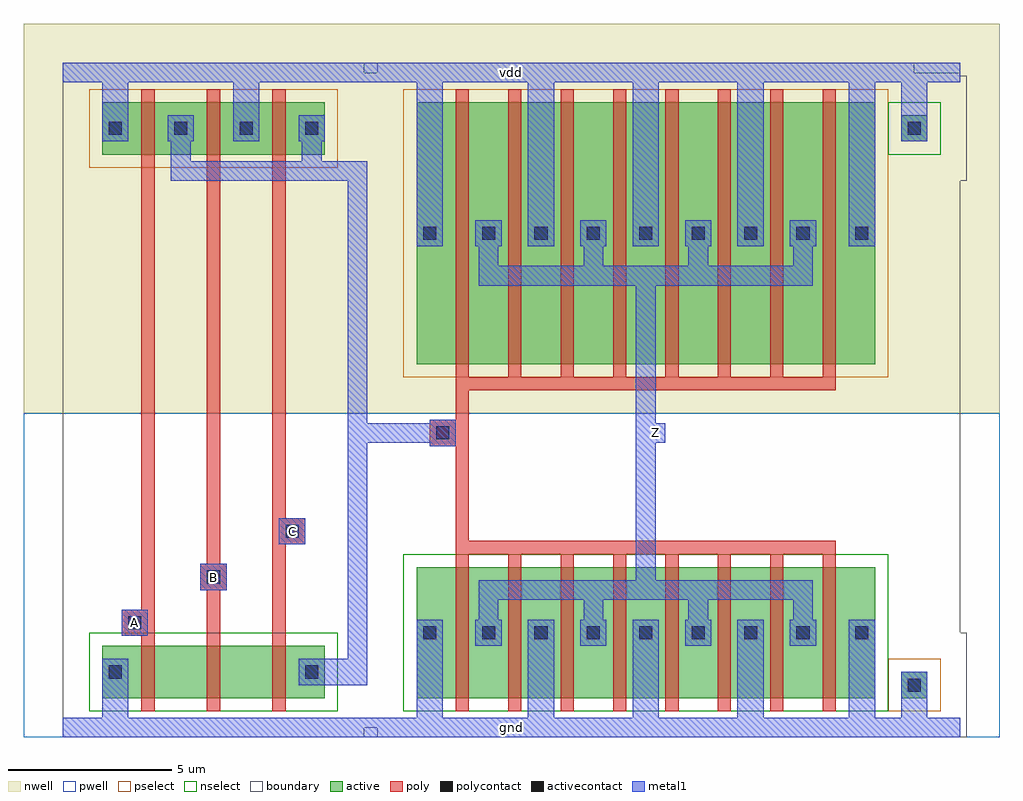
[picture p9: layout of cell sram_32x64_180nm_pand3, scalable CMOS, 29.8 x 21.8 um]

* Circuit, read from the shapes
.subckt sram_32x64_180nm_pand3 A B C Z gnd vdd
M1 sram_32x64_180nm_pnand3_0_0/sram_32x64_180nm_nmos_m1_w1_600_sm1_dactive_3/D A gnd gnd nfet w=1.6u l=0.4u
M2 sram_32x64_180nm_pnand3_0_0/sram_32x64_180nm_nmos_m1_w1_600_sactive_dactive_4/D B sram_32x64_180nm_pnand3_0_0/sram_32x64_180nm_nmos_m1_w1_600_sm1_dactive_3/D gnd nfet w=1.6u l=0.4u
M3 sram_32x64_180nm_pdriver_3_1/A C sram_32x64_180nm_pnand3_0_0/sram_32x64_180nm_nmos_m1_w1_600_sactive_dactive_4/D gnd nfet w=1.6u l=0.4u
M4 Z sram_32x64_180nm_pdriver_3_1/A gnd gnd nfet w=4u l=0.4u m=8
M5 sram_32x64_180nm_pdriver_3_1/A A vdd vdd pfet w=1.6u l=0.4u
M6 vdd B sram_32x64_180nm_pdriver_3_1/A vdd pfet w=1.6u l=0.4u
M7 sram_32x64_180nm_pdriver_3_1/A C vdd vdd pfet w=1.6u l=0.4u
M8 Z sram_32x64_180nm_pdriver_3_1/A vdd vdd pfet w=8u l=0.4u m=8
.ends

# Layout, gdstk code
import gdstk
lib = gdstk.Library(unit=1e-6, precision=1e-09)
def R(c, l, rs):  # rectangles x0, y0, x1, y1
    for r in rs: c.add(gdstk.rectangle(r[:2], r[2:], *l))
def A(c, l, x, y, w, h, nx, ny, dx, dy):  # array of equal rectangles
    R(c, l, [(x+i*dx, y+j*dy, x+i*dx+w, y+j*dy+h) for i in range(nx) for j in range(ny)])
pwell = (41, 0)
nwell = (42, 0)
active = (43, 0)
pselect = (44, 0)
nselect = (45, 0)
poly = (46, 0)
polycontact = (47, 0)
activecontact = (48, 0)
metal1 = (49, 0)
boundary = (63, 0)

sram_32x64_180nm_contact = lib.new_cell('sram_32x64_180nm_contact_12')
R(sram_32x64_180nm_contact, nwell, [(-1.2,-1.2,2,2)])
R(sram_32x64_180nm_contact, active, [(0,0,0.8,0.8)])
R(sram_32x64_180nm_contact, pselect, [(-0.4,-0.4,1.2,1.2)])
R(sram_32x64_180nm_contact, activecontact, [(0.2,0.2,0.6,0.6)])
R(sram_32x64_180nm_contact, metal1, [(0,0,0.8,0.8)])
R(sram_32x64_180nm_contact, boundary, [(-1.2,-1.2,2,2)])

sram_32x64_180nm_pmos_m1 = lib.new_cell('sram_32x64_180nm_pmos_m1_w1_600_sm1_dm1')
R(sram_32x64_180nm_pmos_m1, nwell, [(-1.2,-1.2,4,2.8)])
R(sram_32x64_180nm_pmos_m1, active, [(0,0,2.8,1.6)])
R(sram_32x64_180nm_pmos_m1, pselect, [(-0.4,-0.4,3.2,2)])
R(sram_32x64_180nm_pmos_m1, poly, [(1.2,-0.4,1.6,2), (1.2,-0.4,1.6,2)])
R(sram_32x64_180nm_pmos_m1, metal1, [(0,0.4,0.8,1.2), (2,0.4,2.8,1.2)])
R(sram_32x64_180nm_pmos_m1, boundary, [(-1.2,-1.2,4,2.8)])
sram_32x64_180nm_pmos_m1.add(gdstk.Reference(sram_32x64_180nm_contact, (0,0.4)))
sram_32x64_180nm_pmos_m1.add(gdstk.Reference(sram_32x64_180nm_contact, (2,0.4)))
sram_32x64_180nm_pmos_m1.add(gdstk.Label('G', (1.4,0.8), layer=46, texttype=0))
sram_32x64_180nm_pmos_m1.add(gdstk.Label('S', (0.4,0.8), layer=49, texttype=0))
sram_32x64_180nm_pmos_m1.add(gdstk.Label('D', (2.4,0.8), layer=49, texttype=0))

c_sram_32x64_180nm_contact = lib.new_cell('sram_32x64_180nm_contact_11')
R(c_sram_32x64_180nm_contact, pwell, [(-1.2,-1.2,2,2)])
R(c_sram_32x64_180nm_contact, active, [(0,0,0.8,0.8)])
R(c_sram_32x64_180nm_contact, nselect, [(-0.4,-0.4,1.2,1.2)])
R(c_sram_32x64_180nm_contact, activecontact, [(0.2,0.2,0.6,0.6)])
R(c_sram_32x64_180nm_contact, metal1, [(0,0,0.8,0.8)])
R(c_sram_32x64_180nm_contact, boundary, [(-1.2,-1.2,2,2)])

sram_32x64_180nm_nmos_m1 = lib.new_cell('sram_32x64_180nm_nmos_m1_w1_600_sm1_dactive')
R(sram_32x64_180nm_nmos_m1, pwell, [(-1.2,-1.2,4,2.8)])
R(sram_32x64_180nm_nmos_m1, active, [(0,0,2.8,1.6), (2.1,0.5,2.7,1.1)])
R(sram_32x64_180nm_nmos_m1, nselect, [(-0.4,-0.4,3.2,2)])
R(sram_32x64_180nm_nmos_m1, poly, [(1.2,-0.4,1.6,2), (1.2,-0.4,1.6,2)])
R(sram_32x64_180nm_nmos_m1, metal1, [(0,0.4,0.8,1.2)])
R(sram_32x64_180nm_nmos_m1, boundary, [(-1.2,-1.2,4,2.8)])
sram_32x64_180nm_nmos_m1.add(gdstk.Reference(c_sram_32x64_180nm_contact, (0,0.4)))
sram_32x64_180nm_nmos_m1.add(gdstk.Label('G', (1.4,0.8), layer=46, texttype=0))
sram_32x64_180nm_nmos_m1.add(gdstk.Label('S', (0.4,0.8), layer=49, texttype=0))
sram_32x64_180nm_nmos_m1.add(gdstk.Label('D', (2.4,0.8), layer=43, texttype=0))

c_sram_32x64_180nm_nmos_m1 = lib.new_cell('sram_32x64_180nm_nmos_m1_w1_600_sactive_dactive')
R(c_sram_32x64_180nm_nmos_m1, pwell, [(-1.2,-1.2,4,2.8)])
R(c_sram_32x64_180nm_nmos_m1, active, [(0,0,2.8,1.6), (0.1,0.5,0.7,1.1), (2.1,0.5,2.7,1.1)])
R(c_sram_32x64_180nm_nmos_m1, nselect, [(-0.4,-0.4,3.2,2)])
R(c_sram_32x64_180nm_nmos_m1, poly, [(1.2,-0.4,1.6,2), (1.2,-0.4,1.6,2)])
R(c_sram_32x64_180nm_nmos_m1, boundary, [(-1.2,-1.2,4,2.8)])
c_sram_32x64_180nm_nmos_m1.add(gdstk.Label('G', (1.4,0.8), layer=46, texttype=0))
c_sram_32x64_180nm_nmos_m1.add(gdstk.Label('S', (0.4,0.8), layer=43, texttype=0))
c_sram_32x64_180nm_nmos_m1.add(gdstk.Label('D', (2.4,0.8), layer=43, texttype=0))

c_sram_32x64_180nm_nmos_m1_ = lib.new_cell('sram_32x64_180nm_nmos_m1_w1_600_sactive_dm1')
R(c_sram_32x64_180nm_nmos_m1_, pwell, [(-1.2,-1.2,4,2.8)])
R(c_sram_32x64_180nm_nmos_m1_, active, [(0,0,2.8,1.6), (0.1,0.5,0.7,1.1)])
R(c_sram_32x64_180nm_nmos_m1_, nselect, [(-0.4,-0.4,3.2,2)])
R(c_sram_32x64_180nm_nmos_m1_, poly, [(1.2,-0.4,1.6,2), (1.2,-0.4,1.6,2)])
R(c_sram_32x64_180nm_nmos_m1_, metal1, [(2,0.4,2.8,1.2)])
R(c_sram_32x64_180nm_nmos_m1_, boundary, [(-1.2,-1.2,4,2.8)])
c_sram_32x64_180nm_nmos_m1_.add(gdstk.Reference(c_sram_32x64_180nm_contact, (2,0.4)))
c_sram_32x64_180nm_nmos_m1_.add(gdstk.Label('G', (1.4,0.8), layer=46, texttype=0))
c_sram_32x64_180nm_nmos_m1_.add(gdstk.Label('S', (0.4,0.8), layer=43, texttype=0))
c_sram_32x64_180nm_nmos_m1_.add(gdstk.Label('D', (2.4,0.8), layer=49, texttype=0))

c_sram_32x64_180nm_contact_ = lib.new_cell('sram_32x64_180nm_contact_15')
R(c_sram_32x64_180nm_contact_, poly, [(0,0,0.8,0.8)])
R(c_sram_32x64_180nm_contact_, polycontact, [(0.2,0.2,0.6,0.6)])
R(c_sram_32x64_180nm_contact_, metal1, [(0,0,0.8,0.8)])
R(c_sram_32x64_180nm_contact_, boundary, [(0,0,0.8,0.8)])

sram_32x64_180nm_pnand3_ = lib.new_cell('sram_32x64_180nm_pnand3_0')
R(sram_32x64_180nm_pnand3_, pwell, [(-1.2,-0.3,10.8,9.6)])
R(sram_32x64_180nm_pnand3_, nwell, [(-1.2,9.6,10.8,21.5)])
A(sram_32x64_180nm_pnand3_, poly, 2.4, 2.9, 0.4, 14.2, 3, 1, 2, 0)
R(sram_32x64_180nm_pnand3_, poly, [(2.2,2.8,2.4,3.6), (4.4,4.2,4.6,5), (6.4,5.6,7,6.4)])
R(sram_32x64_180nm_pnand3_, metal1, [(0,-0.3,9.6,0.3), (1.2,-0.3,2,1.3), (7.6,1.3,9,2.1), (8.7,1.3,9.3,17), (1.8,2.8,2.6,3.6), (4.2,4.2,5,5), (6.6,5.6,7.4,6.4), (3.3,16.7,3.9,17.3), (3.6,16.7,9,17.3), (7.3,16.7,7.9,17.3), (7.6,16.7,9,17.3), (8.7,16.7,9.3,17.3), (3.3,17,3.9,18.3), (7.3,17,7.9,18.3), (1.2,17.9,2,20.3), (5.2,17.9,6,20.3), (0,19.7,9.6,20.3)])
R(sram_32x64_180nm_pnand3_, boundary, [(0,0,9.6,20), (0,0,9.6,20)])
sram_32x64_180nm_pnand3_.add(gdstk.Reference(sram_32x64_180nm_pmos_m1, (1.2,17.5)))
sram_32x64_180nm_pnand3_.add(gdstk.Reference(sram_32x64_180nm_pmos_m1, (3.2,17.5)))
sram_32x64_180nm_pnand3_.add(gdstk.Reference(sram_32x64_180nm_pmos_m1, (5.2,17.5)))
sram_32x64_180nm_pnand3_.add(gdstk.Reference(sram_32x64_180nm_nmos_m1, (1.2,0.9)))
sram_32x64_180nm_pnand3_.add(gdstk.Reference(c_sram_32x64_180nm_nmos_m1, (3.2,0.9)))
sram_32x64_180nm_pnand3_.add(gdstk.Reference(c_sram_32x64_180nm_nmos_m1_, (5.2,0.9)))
sram_32x64_180nm_pnand3_.add(gdstk.Reference(c_sram_32x64_180nm_contact_, (1.8,2.8)))
sram_32x64_180nm_pnand3_.add(gdstk.Reference(c_sram_32x64_180nm_contact_, (4.2,4.2)))
sram_32x64_180nm_pnand3_.add(gdstk.Reference(c_sram_32x64_180nm_contact_, (6.6,5.6)))
sram_32x64_180nm_pnand3_.add(gdstk.Label('A', (2.2,3.2), layer=49, texttype=0))
sram_32x64_180nm_pnand3_.add(gdstk.Label('B', (4.6,4.6), layer=49, texttype=0))
sram_32x64_180nm_pnand3_.add(gdstk.Label('C', (7,6), layer=49, texttype=0))
sram_32x64_180nm_pnand3_.add(gdstk.Label('Z', (9,17), layer=49, texttype=0))
sram_32x64_180nm_pnand3_.add(gdstk.Label('gnd', (4.8,0), layer=49, texttype=0))
sram_32x64_180nm_pnand3_.add(gdstk.Label('vdd', (4.8,20), layer=49, texttype=0))

sram_32x64_180nm_pmos_m8 = lib.new_cell('sram_32x64_180nm_pmos_m8_w8_000_sm1_dm1_da_p')
R(sram_32x64_180nm_pmos_m8, nwell, [(-1.2,-1.2,15.2,9.2)])
R(sram_32x64_180nm_pmos_m8, active, [(0,0,14,8)])
R(sram_32x64_180nm_pmos_m8, pselect, [(-0.4,-0.4,14.4,8.4)])
A(sram_32x64_180nm_pmos_m8, poly, 1.2, -0.4, 0.4, 8.8, 8, 1, 1.6, 0)
R(sram_32x64_180nm_pmos_m8, poly, [(1.2,-0.8,12.8,-0.4)])
A(sram_32x64_180nm_pmos_m8, metal1, 1.9, 2.7, 0.6, 1.3, 4, 1, 3.2, 0)
A(sram_32x64_180nm_pmos_m8, metal1, 3.4, 3.6, 0.8, 0.8, 3, 1, 3.2, 0)
R(sram_32x64_180nm_pmos_m8, metal1, [(1.9,2.4,12.1,3), (0,3.6,0.8,4.4), (13.2,3.6,14,4.4)])
R(sram_32x64_180nm_pmos_m8, boundary, [(-1.2,-1.2,15.2,9.2)])
sram_32x64_180nm_pmos_m8.add(gdstk.Reference(sram_32x64_180nm_contact, (0,3.6)))
sram_32x64_180nm_pmos_m8.add(gdstk.Reference(sram_32x64_180nm_contact, (1.8,3.6)))
sram_32x64_180nm_pmos_m8.add(gdstk.Reference(sram_32x64_180nm_contact, (3.4,3.6)))
sram_32x64_180nm_pmos_m8.add(gdstk.Reference(sram_32x64_180nm_contact, (5,3.6)))
sram_32x64_180nm_pmos_m8.add(gdstk.Reference(sram_32x64_180nm_contact, (6.6,3.6)))
sram_32x64_180nm_pmos_m8.add(gdstk.Reference(sram_32x64_180nm_contact, (8.2,3.6)))
sram_32x64_180nm_pmos_m8.add(gdstk.Reference(sram_32x64_180nm_contact, (9.8,3.6)))
sram_32x64_180nm_pmos_m8.add(gdstk.Reference(sram_32x64_180nm_contact, (11.4,3.6)))
sram_32x64_180nm_pmos_m8.add(gdstk.Reference(sram_32x64_180nm_contact, (13.2,3.6)))
sram_32x64_180nm_pmos_m8.add(gdstk.Label('G', (7,-0.6), layer=46, texttype=0))
sram_32x64_180nm_pmos_m8.add(gdstk.Label('S', (13.6,4), layer=49, texttype=0))
sram_32x64_180nm_pmos_m8.add(gdstk.Label('S', (3.8,4), layer=49, texttype=0))
sram_32x64_180nm_pmos_m8.add(gdstk.Label('S', (7,4), layer=49, texttype=0))
sram_32x64_180nm_pmos_m8.add(gdstk.Label('S', (0.4,4), layer=49, texttype=0))
sram_32x64_180nm_pmos_m8.add(gdstk.Label('S', (10.2,4), layer=49, texttype=0))
sram_32x64_180nm_pmos_m8.add(gdstk.Label('D', (7,2.7), layer=49, texttype=0))

sram_32x64_180nm_nmos_m8 = lib.new_cell('sram_32x64_180nm_nmos_m8_w4_000_sm1_dm1_da_p')
R(sram_32x64_180nm_nmos_m8, pwell, [(-1.2,-1.2,15.2,5.2)])
R(sram_32x64_180nm_nmos_m8, active, [(0,0,14,4)])
R(sram_32x64_180nm_nmos_m8, nselect, [(-0.4,-0.4,14.4,4.4)])
A(sram_32x64_180nm_nmos_m8, poly, 1.2, -0.4, 0.4, 4.8, 8, 1, 1.6, 0)
R(sram_32x64_180nm_nmos_m8, poly, [(1.2,4.4,12.8,4.8)])
A(sram_32x64_180nm_nmos_m8, metal1, 3.4, 1.6, 0.8, 0.8, 3, 1, 3.2, 0)
A(sram_32x64_180nm_nmos_m8, metal1, 1.9, 2, 0.6, 1.3, 4, 1, 3.2, 0)
R(sram_32x64_180nm_nmos_m8, metal1, [(0,1.6,0.8,2.4), (13.2,1.6,14,2.4), (1.9,3,12.1,3.6)])
R(sram_32x64_180nm_nmos_m8, boundary, [(-1.2,-1.2,15.2,5.2)])
sram_32x64_180nm_nmos_m8.add(gdstk.Reference(c_sram_32x64_180nm_contact, (0,1.6)))
sram_32x64_180nm_nmos_m8.add(gdstk.Reference(c_sram_32x64_180nm_contact, (1.8,1.6)))
sram_32x64_180nm_nmos_m8.add(gdstk.Reference(c_sram_32x64_180nm_contact, (3.4,1.6)))
sram_32x64_180nm_nmos_m8.add(gdstk.Reference(c_sram_32x64_180nm_contact, (5,1.6)))
sram_32x64_180nm_nmos_m8.add(gdstk.Reference(c_sram_32x64_180nm_contact, (6.6,1.6)))
sram_32x64_180nm_nmos_m8.add(gdstk.Reference(c_sram_32x64_180nm_contact, (8.2,1.6)))
sram_32x64_180nm_nmos_m8.add(gdstk.Reference(c_sram_32x64_180nm_contact, (9.8,1.6)))
sram_32x64_180nm_nmos_m8.add(gdstk.Reference(c_sram_32x64_180nm_contact, (11.4,1.6)))
sram_32x64_180nm_nmos_m8.add(gdstk.Reference(c_sram_32x64_180nm_contact, (13.2,1.6)))
sram_32x64_180nm_nmos_m8.add(gdstk.Label('G', (7,4.6), layer=46, texttype=0))
sram_32x64_180nm_nmos_m8.add(gdstk.Label('S', (13.6,2), layer=49, texttype=0))
sram_32x64_180nm_nmos_m8.add(gdstk.Label('S', (10.2,2), layer=49, texttype=0))
sram_32x64_180nm_nmos_m8.add(gdstk.Label('S', (7,2), layer=49, texttype=0))
sram_32x64_180nm_nmos_m8.add(gdstk.Label('S', (3.8,2), layer=49, texttype=0))
sram_32x64_180nm_nmos_m8.add(gdstk.Label('S', (0.4,2), layer=49, texttype=0))
sram_32x64_180nm_nmos_m8.add(gdstk.Label('D', (7,3.3), layer=49, texttype=0))

c_sram_32x64_180nm_contact__ = lib.new_cell('sram_32x64_180nm_contact_13')
R(c_sram_32x64_180nm_contact__, nwell, [(-1.2,-1.2,2,2)])
R(c_sram_32x64_180nm_contact__, active, [(0,0,0.8,0.8)])
R(c_sram_32x64_180nm_contact__, nselect, [(-0.4,-0.4,1.2,1.2)])
R(c_sram_32x64_180nm_contact__, activecontact, [(0.2,0.2,0.6,0.6)])
R(c_sram_32x64_180nm_contact__, metal1, [(0,0,0.8,0.8)])
R(c_sram_32x64_180nm_contact__, boundary, [(-1.2,-1.2,2,2)])

c_sram_32x64_180nm_contact___ = lib.new_cell('sram_32x64_180nm_contact_14')
R(c_sram_32x64_180nm_contact___, pwell, [(-1.2,-1.2,2,2)])
R(c_sram_32x64_180nm_contact___, active, [(0,0,0.8,0.8)])
R(c_sram_32x64_180nm_contact___, pselect, [(-0.4,-0.4,1.2,1.2)])
R(c_sram_32x64_180nm_contact___, activecontact, [(0.2,0.2,0.6,0.6)])
R(c_sram_32x64_180nm_contact___, metal1, [(0,0,0.8,0.8)])
R(c_sram_32x64_180nm_contact___, boundary, [(-1.2,-1.2,2,2)])

sram_32x64_180nm_pinv_14 = lib.new_cell('sram_32x64_180nm_pinv_14')
R(sram_32x64_180nm_pinv_14, pwell, [(-1.2,-0.3,19,9.6)])
R(sram_32x64_180nm_pinv_14, nwell, [(-1.2,9.6,19,21.5)])
R(sram_32x64_180nm_pinv_14, poly, [(2.4,5.7,2.8,10.3), (2,8.6,2.4,9.4)])
A(sram_32x64_180nm_pinv_14, metal1, 4.6, -0.3, 0.8, 2.8, 3, 1, 3.2, 0)
A(sram_32x64_180nm_pinv_14, metal1, 4.6, 14.7, 0.8, 5.6, 3, 1, 3.2, 0)
R(sram_32x64_180nm_pinv_14, metal1, [(0,-0.3,17.8,0.3), (1.2,-0.3,2,2.5), (14.4,-0.3,15.2,2.5), (16,0,16.8,1.3), (7.9,3.9,8.5,14.1), (1.6,8.6,2.4,9.4), (8.2,8.7,8.8,9.3), (1.2,14.7,2,20.3), (14.4,14.7,15.2,20.3), (16,18.3,16.8,20), (0,19.7,17.8,20.3)])
R(sram_32x64_180nm_pinv_14, boundary, [(0,0,17.8,20), (0,0,17.8,20)])
sram_32x64_180nm_pinv_14.add(gdstk.Reference(sram_32x64_180nm_pmos_m8, (1.2,11.1)))
sram_32x64_180nm_pinv_14.add(gdstk.Reference(sram_32x64_180nm_nmos_m8, (1.2,0.9)))
sram_32x64_180nm_pinv_14.add(gdstk.Reference(c_sram_32x64_180nm_contact__, (16,17.9)))
sram_32x64_180nm_pinv_14.add(gdstk.Reference(c_sram_32x64_180nm_contact___, (16,0.9)))
sram_32x64_180nm_pinv_14.add(gdstk.Reference(c_sram_32x64_180nm_contact_, (1.6,8.6)))
sram_32x64_180nm_pinv_14.add(gdstk.Label('A', (2,9), layer=49, texttype=0))
sram_32x64_180nm_pinv_14.add(gdstk.Label('Z', (8.5,9), layer=49, texttype=0))
sram_32x64_180nm_pinv_14.add(gdstk.Label('gnd', (8.9,0), layer=49, texttype=0))
sram_32x64_180nm_pinv_14.add(gdstk.Label('vdd', (8.9,20), layer=49, texttype=0))

sram_32x64_180nm_pdriver = lib.new_cell('sram_32x64_180nm_pdriver_3')
R(sram_32x64_180nm_pdriver, pwell, [(-1.2,-0.3,19,9.6)])
R(sram_32x64_180nm_pdriver, nwell, [(-1.2,9.6,19,21.5)])
R(sram_32x64_180nm_pdriver, metal1, [(0,-0.3,17.8,0.3), (1.6,8.6,2.4,9.4), (8.2,8.7,8.8,9.3), (0,19.7,17.8,20.3)])
R(sram_32x64_180nm_pdriver, boundary, [(0,0,17.8,20), (0,0,17.8,20)])
sram_32x64_180nm_pdriver.add(gdstk.Reference(sram_32x64_180nm_pinv_14, (0,0)))
sram_32x64_180nm_pdriver.add(gdstk.Label('Z', (8.5,9), layer=49, texttype=0))
sram_32x64_180nm_pdriver.add(gdstk.Label('A', (2,9), layer=49, texttype=0))
sram_32x64_180nm_pdriver.add(gdstk.Label('gnd', (8.9,0), layer=49, texttype=0))
sram_32x64_180nm_pdriver.add(gdstk.Label('vdd', (8.9,20), layer=49, texttype=0))

sram_32x64_180nm_pand3 = lib.new_cell('sram_32x64_180nm_pand3')
R(sram_32x64_180nm_pand3, metal1, [(0,-0.3,27.4,0.3), (1.8,2.8,2.6,3.6), (4.2,4.2,5,5), (6.6,5.6,7.4,6.4), (8.7,8.7,9.3,9.3), (9,8.7,11.6,9.3), (17.8,8.7,18.4,9.3), (8.7,9,9.3,17), (0,19.7,27.4,20.3)])
R(sram_32x64_180nm_pand3, boundary, [(0,0,27.4,20), (0,0,27.4,20)])
sram_32x64_180nm_pand3.add(gdstk.Reference(sram_32x64_180nm_pnand3_, (0,0)))
sram_32x64_180nm_pand3.add(gdstk.Reference(sram_32x64_180nm_pdriver, (9.6,0)))
sram_32x64_180nm_pand3.add(gdstk.Label('Z', (18.1,9), layer=49, texttype=0))
sram_32x64_180nm_pand3.add(gdstk.Label('A', (2.2,3.2), layer=49, texttype=0))
sram_32x64_180nm_pand3.add(gdstk.Label('B', (4.6,4.6), layer=49, texttype=0))
sram_32x64_180nm_pand3.add(gdstk.Label('C', (7,6), layer=49, texttype=0))
sram_32x64_180nm_pand3.add(gdstk.Label('gnd', (13.7,0), layer=49, texttype=0))
sram_32x64_180nm_pand3.add(gdstk.Label('vdd', (13.7,20), layer=49, texttype=0))

lib.write_gds('sram_32x64_180nm_pand3.gds')
